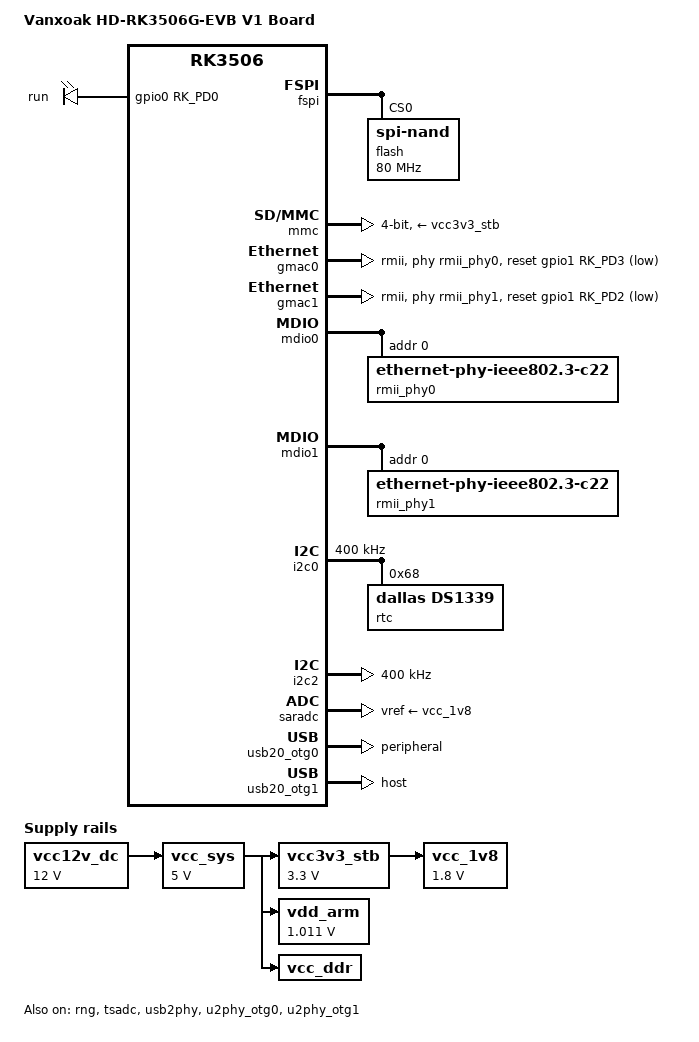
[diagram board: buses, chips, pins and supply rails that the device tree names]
// SPDX-License-Identifier: (GPL-2.0+ OR MIT)
/*
 * Copyright (c) 2024 Rockchip Electronics Co., Ltd.
 * Vanxoak HD-RK3506G-EVB V1 Board
 */

/dts-v1/;

#include <dt-bindings/display/drm_mipi_dsi.h>
#include <dt-bindings/input/rk-input.h>
#include <dt-bindings/suspend/rockchip-rk3506.h>
#include "rk3506.dtsi"
#include "rk3506-pinctrl-rmio.dtsi"

/ {
	model = "Vanxoak HD-RK3506G-EVB V1 Board";
	compatible = "vanxoak,hd-rk3506g-evb", "rockchip,rk3506";

	chosen {
		bootargs = "earlycon=uart8250,mmio32,0xff0a0000 console=ttyFIQ0";
	};

	fiq_debugger: fiq-debugger {
		compatible = "rockchip,fiq-debugger";
		rockchip,serial-id = <0>;
		rockchip,wake-irq = <0>;
		rockchip,irq-mode-enable = <1>;
		rockchip,baudrate = <1500000>;
		interrupts = <GIC_SPI 115 IRQ_TYPE_LEVEL_HIGH>;
	};

	leds {
		compatible = "gpio-leds";
		status = "okay";

		heart_led {
			label = "run";
			gpios = <&gpio0 RK_PD0 GPIO_ACTIVE_HIGH>;
			linux,default-trigger = "heartbeat";
		};
	};

	vcc12v_dc: vcc12v-dc {
		compatible = "regulator-fixed";
		regulator-name = "vcc12v_dc";
		regulator-always-on;
		regulator-boot-on;
		regulator-min-microvolt = <12000000>;
		regulator-max-microvolt = <12000000>;
	};

	vcc_sys: vcc-sys {
		compatible = "regulator-fixed";
		regulator-name = "vcc_sys";
		regulator-always-on;
		regulator-boot-on;
		regulator-min-microvolt = <5000000>;
		regulator-max-microvolt = <5000000>;
		vin-supply = <&vcc12v_dc>;
	};

	vcc3v3_stb: vcc3v3-stb {
		compatible = "regulator-fixed";
		regulator-name = "vcc3v3_stb";
		regulator-always-on;
		regulator-boot-on;
		regulator-min-microvolt = <3300000>;
		regulator-max-microvolt = <3300000>;
		vin-supply = <&vcc_sys>;
	};

	vcc_1v8: vcc-1v8 {
		compatible = "regulator-fixed";
		regulator-name = "vcc_1v8";
		regulator-always-on;
		regulator-boot-on;
		regulator-min-microvolt = <1800000>;
		regulator-max-microvolt = <1800000>;
		vin-supply = <&vcc3v3_stb>;
	};

	vdd_arm: vdd-arm {
		compatible = "regulator-fixed";
		regulator-name = "vdd_arm";
		regulator-min-microvolt = <1011000>;
		regulator-max-microvolt = <1011000>;
		regulator-always-on;
		regulator-boot-on;
		vin-supply = <&vcc_sys>;
	};

	vcc_ddr: vcc-ddr {
		compatible = "regulator-fixed";
		regulator-name = "vcc_ddr";
		regulator-always-on;
		regulator-boot-on;
		vin-supply = <&vcc_sys>;
	};
};

&cpu0 {
	cpu-supply = <&vdd_arm>;
};

&fspi {
	status = "okay";

	flash@0 {
		compatible = "spi-nand";
		reg = <0>;
		spi-max-frequency = <80000000>;
		spi-rx-bus-width = <4>;
		spi-tx-bus-width = <1>;
	};
};

&mmc {
	max-frequency = <150000000>;
	supports-sd;
	bus-width = <4>;
	cd-gpio = <&gpio1 RK_PB3 GPIO_ACTIVE_LOW>;
	cap-sd-highspeed;
	disable-wp;
	vmmc-supply = <&vcc3v3_stb>;
	vqmmc-supply = <&vcc3v3_stb>;
	pinctrl-names = "default";
	pinctrl-0 = <&sdmmc_clk_pins &sdmmc_cmd_pins &sdmmc_bus4_pins>;
	status = "okay";
};

&gmac0 {
	phy-mode = "rmii";
	clock_in_out = "input";
	snps,reset-gpio = <&gpio1 RK_PD3 GPIO_ACTIVE_LOW>;
	snps,reset-active-low;
	snps,reset-delays-us = <0 20000 100000>;
	pinctrl-names = "default";
	pinctrl-0 = <&eth_rmii0_miim_pins
		     &eth_rmii0_tx_bus2_pins
		     &eth_rmii0_rx_bus2_pins
		     &eth_rmii0_clk_pins>;
	phy-handle = <&rmii_phy0>;
	status = "okay";
};

&gmac1 {
	phy-mode = "rmii";
	clock_in_out = "input";
	snps,reset-gpio = <&gpio1 RK_PD2 GPIO_ACTIVE_LOW>;
	snps,reset-active-low;
	snps,reset-delays-us = <0 20000 100000>;
	pinctrl-names = "default";
	pinctrl-0 = <&eth_rmii1_miim_pins
		     &eth_rmii1_tx_bus2_pins
		     &eth_rmii1_rx_bus2_pins
		     &eth_rmii1_clk_pins>;
	phy-handle = <&rmii_phy1>;
	status = "okay";
};

&mdio0 {
	rmii_phy0: phy@0 {
		compatible = "ethernet-phy-ieee802.3-c22";
		reg = <0x0>;
		clocks = <&cru CLK_MAC_OUT>;
		assigned-clocks = <&cru CLK_MAC_OUT>;
		assigned-clock-rates = <25000000>;
	};
};

&mdio1 {
	rmii_phy1: phy@0 {
		compatible = "ethernet-phy-ieee802.3-c22";
		reg = <0x0>;
		clocks = <&cru CLK_MAC_OUT>;
		assigned-clocks = <&cru CLK_MAC_OUT>;
		assigned-clock-rates = <25000000>;
	};
};

&i2c0 {
	clock-frequency = <400000>;
	status = "okay";
	pinctrl-names = "default";
	pinctrl-0 = <&rm_io25_i2c0_scl &rm_io24_i2c0_sda>;

	rtc@68 {
		compatible = "dallas,ds1339";
		reg = <0x68>;
	};
};

&i2c2 {
	clock-frequency = <400000>;
	status = "okay";
	pinctrl-names = "default";
	pinctrl-0 = <&rm_io4_i2c2_scl &rm_io5_i2c2_sda>;
	// There's a RJGT102 device here at address 68
};

&rng {
	status = "okay";
};

&saradc {
	vref-supply = <&vcc_1v8>;
	status = "okay";
};

&tsadc {
	status = "okay";
};

&usb2phy {
	status = "okay";
};

&u2phy_otg0 {
	status = "okay";
};

&u2phy_otg1 {
	status = "okay";
};

&usb20_otg0 {
	dr_mode = "peripheral";
	status = "okay";
};

&usb20_otg1 {
	dr_mode = "host";
	status = "okay";
};
